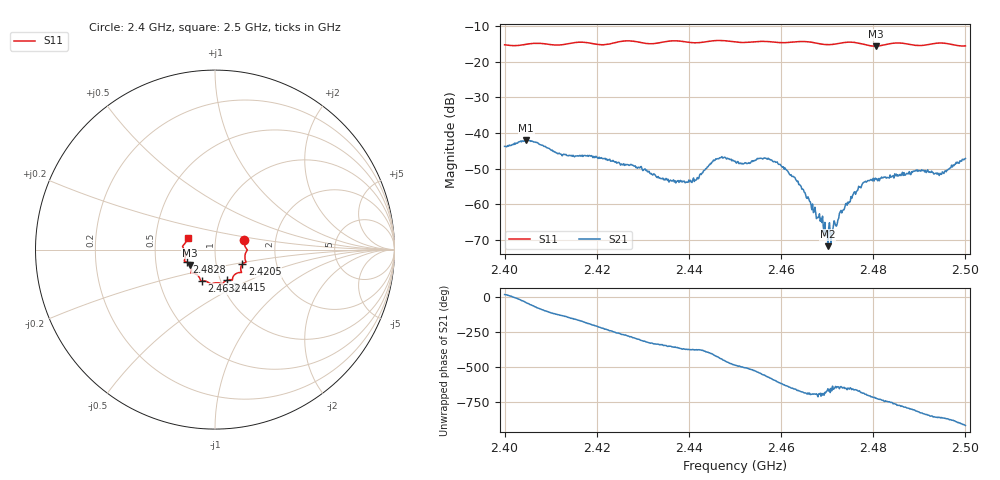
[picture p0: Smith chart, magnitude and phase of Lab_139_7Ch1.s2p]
# Hz S RI R 50
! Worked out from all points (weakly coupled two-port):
!   601 points, 2.4 GHz to 2.5 GHz, reference 50 ohm
!   highest |S21| = -41.99 dB at 2.4047 GHz (marker M1); lowest = -71.7 dB at 2.4702 GHz (marker M2)
!   lowest |S11| = -15.7 dB at 2.4807 GHz (marker M3), VSWR 1.39, Z = 37.2 - j6.55 ohm
!   |S11| at or under -10 dB: start of sweep to end of sweep
!   S12 and S22 are empty: the file has one direction only
!   S11 on the Smith chart (normalised r, x): 2.4 GHz: 1.38, +0.15; 2.4205 GHz: 1.34, -0.23; 2.4415 GHz: 1.07, -0.38; 2.4632 GHz: 0.82, -0.29; 2.4828 GHz: 0.72, -0.10; 2.5 GHz: 0.73, +0.10
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2.4e9  0.1637 0.0516  0.00609 0.00229  0 0  0 0
2.404667e9  0.1741 0.00605  0.00631 -0.00484  0 0  0 0
2.412e9  0.1667 -0.037  -0.00313 -0.00407  0 0  0 0
2.416667e9  0.1729 -0.07  -0.00467 -0.000863  0 0  0 0
2.4205e9  0.1521 -0.0818  -0.00384 0.00252  0 0  0 0
2.433333e9  0.1004 -0.1514  0.00224 0.00102  0 0  0 0
2.4415e9  0.0655 -0.1706  0.00209 -0.000623  0 0  0 0
2.445833e9  0.0414 -0.1922  0.00218 -0.00377  0 0  0 0
2.45e9  0.0243 -0.1862  -0.00238 -0.00327  0 0  0 0
2.457e9  -0.0261 -0.189  -0.00379 0.00201  0 0  0 0
2.463167e9  -0.0732 -0.174  0.00105 0.00198  0 0  0 0
2.466667e9  -0.0822 -0.1669  0.000762 0.000367  0 0  0 0
2.470167e9  -0.1006 -0.1399  0.000108 0.000238  0 0  0 0
2.470667e9  -0.1052 -0.1368  0.000325 0.000255  0 0  0 0
2.473167e9  -0.1277 -0.1302  0.000174 0.000742  0 0  0 0
2.477333e9  -0.1313 -0.1203  0.00135 0.00105  0 0  0 0
2.480667e9  -0.14 -0.0856  0.00223 -0.000101  0 0  0 0
2.482833e9  -0.1588 -0.07  0.00213 -0.000961  0 0  0 0
2.483333e9  -0.1625 -0.0681  0.00209 -0.00113  0 0  0 0
2.489667e9  -0.1654 -0.0266  -0.000415 -0.00288  0 0  0 0
2.494833e9  -0.1806 0.0187  -0.00204 -0.00167  0 0  0 0
2.5e9  -0.1527 0.0644  -0.00418 0.00134  0 0  0 0
